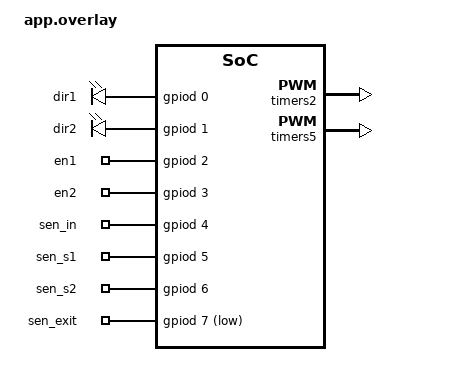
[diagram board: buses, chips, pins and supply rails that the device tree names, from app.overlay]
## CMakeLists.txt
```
# SPDX-License-Identifier: Apache-2.0

cmake_minimum_required(VERSION 3.20.0)
find_package(Zephyr REQUIRED HINTS $ENV{ZEPHYR_BASE})
project(transport_zephyr)

target_sources(app PRIVATE src/main.c)
```

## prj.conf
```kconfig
# SPDX-License-Identifier: Apache-2.0
CONFIG_GPIO=y
CONFIG_PWM=y
CONFIG_LOG=y
CONFIG_PRINTK=y
```

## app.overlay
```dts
/* SPDX-License-Identifier: Apache-2.0
 *
 * Sheet-transport controller on the QEMU stm32n6570-dk:
 *   TIM2 CH1 -> M1 domain PWM, TIM5 CH1 -> M2 domain PWM,
 *   GPIOD 0..3 -> DIR1/DIR2/EN1/EN2 outputs,
 *   GPIOD 4..7 -> IN/S1/S2 (active high) + EXIT (active low) sensors.
 * QEMU wires the timer's "ch" GPIO output waveform (generated in the
 * timer model from PSC/ARR/CCR) into the transport device's pwm input;
 * the PA0 pin conflicts between the two CH1 pinctrl entries are
 * irrelevant because nothing routes these pads to the device.
 */

#include <dt-bindings/gpio/gpio.h>

&timers2 {
	status = "okay";
	st,prescaler = <0>;
	pwm2: pwm {
		status = "okay";
		pinctrl-names = "default";
		pinctrl-0 = <&tim2_ch1_pa0>;
	};
};

&timers5 {
	status = "okay";
	st,prescaler = <0>;
	pwm5: pwm {
		status = "okay";
		pinctrl-names = "default";
		pinctrl-0 = <&tim5_ch1_pa0>;
	};
};

/ {
	transport_pins {
		compatible = "gpio-leds";

		dir1: dir1 {
			gpios = <&gpiod 0 GPIO_ACTIVE_HIGH>;
		};
		dir2: dir2 {
			gpios = <&gpiod 1 GPIO_ACTIVE_HIGH>;
		};
		en1: en1 {
			gpios = <&gpiod 2 GPIO_ACTIVE_HIGH>;
		};
		en2: en2 {
			gpios = <&gpiod 3 GPIO_ACTIVE_HIGH>;
		};
	};

	transport_sensors {
		compatible = "gpio-keys";

		sen_in: sen-in {
			gpios = <&gpiod 4 GPIO_ACTIVE_HIGH>;
		};
		sen_s1: sen-s1 {
			gpios = <&gpiod 5 GPIO_ACTIVE_HIGH>;
		};
		sen_s2: sen-s2 {
			gpios = <&gpiod 6 GPIO_ACTIVE_HIGH>;
		};
		sen_exit: sen-exit {
			gpios = <&gpiod 7 GPIO_ACTIVE_LOW>;
		};
	};
};
```

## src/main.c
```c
/*
 * SPDX-License-Identifier: Apache-2.0
 *
 * Zephyr port of the sheet-transport co-sim controller (the FreeRTOS
 * transport-n6 demo). Runs on the QEMU stm32n6570-dk machine:
 *
 *   TIM2 CH1 (Zephyr PWM API) -> M1 domain, TIM5 CH1 -> M2 domain
 *   GPIOD 0/1/2/3             -> DIR1/DIR2/EN1/EN2 (statically driven)
 *   GPIOD 4/5/6/7             -> IN / S1 / S2 (active high), EXIT (active low)
 *   usart1 (chosen console)   -> event log, same format as transport-n6
 *
 * Run with ~/qemu/run-n6-zephyr-transport.sh (XIP through the XSPI2
 * window, boot-base=0x70000000, transport=TIM2:1;TIM5:1;D0;D1;D2;D3;D4;D5;D6;D7).
 */

#include <zephyr/kernel.h>
#include <zephyr/device.h>
#include <zephyr/drivers/pwm.h>
#include <zephyr/drivers/gpio.h>

#define LOG_LEVEL LOG_LEVEL_INF
#include <zephyr/logging/log.h>
LOG_MODULE_REGISTER(transport);

static const struct device *const pwm_m1 = DEVICE_DT_GET(DT_NODELABEL(pwm2));
static const struct device *const pwm_m2 = DEVICE_DT_GET(DT_NODELABEL(pwm5));

static const struct gpio_dt_spec dir1 = GPIO_DT_SPEC_GET(DT_NODELABEL(dir1), gpios);
static const struct gpio_dt_spec dir2 = GPIO_DT_SPEC_GET(DT_NODELABEL(dir2), gpios);
static const struct gpio_dt_spec en1  = GPIO_DT_SPEC_GET(DT_NODELABEL(en1), gpios);
static const struct gpio_dt_spec en2  = GPIO_DT_SPEC_GET(DT_NODELABEL(en2), gpios);

static const struct gpio_dt_spec sen_in   = GPIO_DT_SPEC_GET(DT_NODELABEL(sen_in), gpios);
static const struct gpio_dt_spec sen_s1   = GPIO_DT_SPEC_GET(DT_NODELABEL(sen_s1), gpios);
static const struct gpio_dt_spec sen_s2   = GPIO_DT_SPEC_GET(DT_NODELABEL(sen_s2), gpios);
static const struct gpio_dt_spec sen_exit = GPIO_DT_SPEC_GET(DT_NODELABEL(sen_exit), gpios);

/* 1 kHz PWM, 350000 ns pulse = 350 permille ~420 mm/s surface speed
 * (identical duty to the FreeRTOS reference: 350/1000 of the period) */
#define PWM_PERIOD_NS 1000000ULL
#define DUTY_FEED_NS  350000ULL

/* Multi-note pipelining: point sensors cannot pair events to specific
 * notes, but every note passes IN -> S1 -> S2 -> EXIT in strict order,
 * so rising-edge counts per sensor identify how many notes occupy each
 * zone; the batch re-arms when every entered note has left.
 * (Same algorithm as transport/main.c.) */
static uint32_t nIn, nS1, nS2, nOut;   /* rising-edge counters */
static bool pIn, pS1, pS2, pEx;        /* previous sensor levels */
static int mM1, mM2;                   /* latched pwm state */
static bool seeded;

static void set_pwm(const struct device *pwm, bool on)
{
	/* stm32 PWM driver channels are 1-based: CH1 -> 1 */
	int err = pwm_set(pwm, 1, PWM_PERIOD_NS, on ? DUTY_FEED_NS : 0, 0);

	if (err) {
		LOG_ERR("pwm set failed: %d", err);
	}
}

static void log_msg(const char *evt)
{
	LOG_INF("[%4lld ms] %-9s in=%u out=%u state=%d%d",
		k_uptime_get(), evt, (unsigned int)nIn,
		(unsigned int)nOut, mM1, mM2);
}

static int read_sen(const struct gpio_dt_spec *sen)
{
	static bool err_logged;
	int v = gpio_pin_get_dt(sen);

	if (v < 0) {
		/* driver error: treat as unblocked, but say so once */
		if (!err_logged) {
			err_logged = true;
			LOG_ERR("sensor read failed: %d", v);
		}
		return 0;
	}
	return v;
}

static void transport_loop(void)
{
	int in = read_sen(&sen_in);
	int s1 = read_sen(&sen_s1);
	int s2 = read_sen(&sen_s2);
	int ex = read_sen(&sen_exit);
	int wantM1, wantM2;

	if (!seeded) {
		/* a note already on the beams at start counts as entered */
		seeded = true;
		pIn = in != 0;
		pS1 = s1 != 0;
		pS2 = s2 != 0;
		pEx = ex != 0;
		nIn = pIn ? 1U : 0U;
		nS1 = pS1 ? 1U : 0U;
		nS2 = pS2 ? 1U : 0U;
		nOut = 0U;
	}

	if (in && !pIn) {
		nIn++;
		log_msg("IN blk");
	}
	if (s1 && !pS1) {
		nS1++;
		log_msg("S1 blk");
	}
	if (s2 && !pS2) {
		nS2++;
		log_msg("S2 blk");
	}
	if (ex && !pEx) {
		log_msg("EXIT blk");
	}
	if (pEx && !ex) {
		nOut++;
		log_msg("EXIT clr");
	}
	pIn = in != 0;
	pS1 = s1 != 0;
	pS2 = s2 != 0;
	pEx = ex != 0;

	/* drive demand from zone occupancy, not a single-note state */
	wantM1 = in || (nS1 > nS2);
	wantM2 = nS1 > nOut;

	if (wantM1 != mM1) {
		mM1 = wantM1;
		set_pwm(pwm_m1, mM1 != 0);
		log_msg(mM1 ? "M1 drive" : "M1 off");
	}
	if (wantM2 != mM2) {
		mM2 = wantM2;
		set_pwm(pwm_m2, mM2 != 0);
		log_msg(mM2 ? "M2 drive" : "M2 off");
	}

	if ((nOut > 0U) && (nOut == nIn)) {
		/* every entered note has left the bed: re-arm the batch */
		LOG_INF("[%4lld ms] COMPLETE  transport-zephyr notes=%u",
			k_uptime_get(), (unsigned int)nIn);
		nIn = nS1 = nS2 = nOut = 0U;
	}
}

int main(void)
{
	static const struct gpio_dt_spec *const pins[] = {
		&dir1, &dir2, &en1, &en2, &sen_in, &sen_s1, &sen_s2, &sen_exit
	};
	static const gpio_flags_t flags[] = {
		GPIO_OUTPUT_ACTIVE, GPIO_OUTPUT_ACTIVE,
		GPIO_OUTPUT_ACTIVE, GPIO_OUTPUT_ACTIVE,
		GPIO_INPUT, GPIO_INPUT, GPIO_INPUT, GPIO_INPUT
	};

	for (int i = 0; i < ARRAY_SIZE(pins); i++) {
		int err = gpio_pin_configure_dt(pins[i], flags[i]);

		if (err) {
			LOG_ERR("gpio %d cfg failed: %d", i, err);
			return -EIO;
		}
	}

	if (!device_is_ready(pwm_m1) || !device_is_ready(pwm_m2)) {
		LOG_ERR("pwm not ready");
		return -ENODEV;
	}
	set_pwm(pwm_m1, false);
	set_pwm(pwm_m2, false);

	LOG_INF("transport-zephyr: sheet controller ready");

	for (;;) {
		transport_loop();
		k_msleep(10);
	}
	return 0;
}
```
